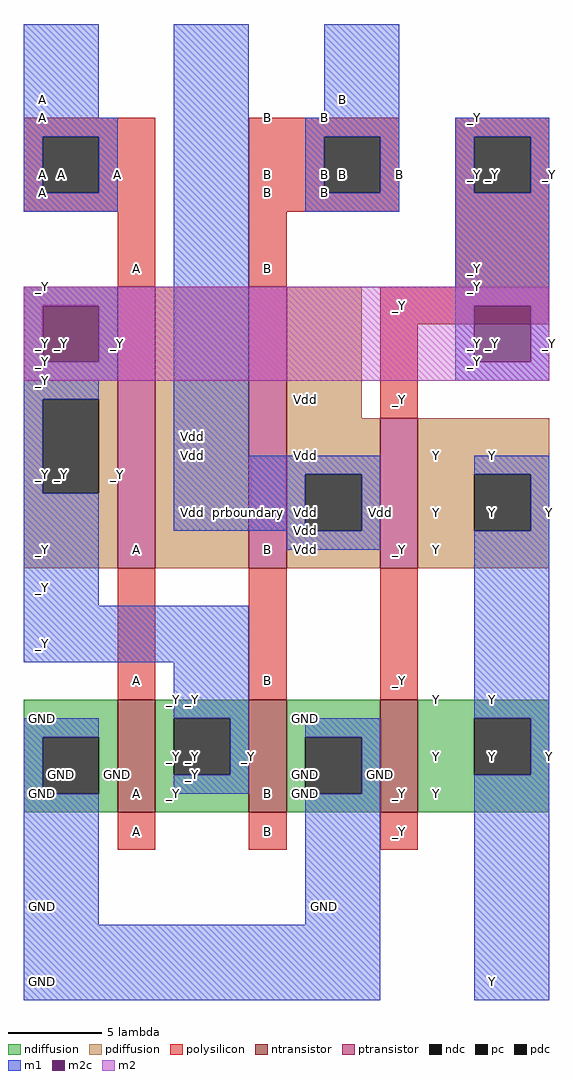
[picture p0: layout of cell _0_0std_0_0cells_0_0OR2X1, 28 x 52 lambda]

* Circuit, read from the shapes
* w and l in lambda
.subckt _0_0std_0_0cells_0_0OR2X1 Y B A
M1 _Y A GND VSUBS nfet w=6 l=2
M2 GND B _Y VSUBS nfet w=6 l=2
M3 Y _Y GND VSUBS nfet w=6 l=2
M4 n1 A _Y NWELL pfet w=15 l=2
M5 Vdd B n1 NWELL pfet w=15 l=2
M6 Y _Y Vdd NWELL pfet w=8 l=2
.ends

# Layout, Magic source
magic
tech sky130l
<< ndiffusion >>
rect 8 18 13 20
rect 8 15 9 18
rect 12 15 13 18
rect 8 14 13 15
rect 15 19 20 20
rect 15 16 16 19
rect 19 16 20 19
rect 15 14 20 16
rect 22 18 27 20
rect 22 15 23 18
rect 26 15 27 18
rect 22 14 27 15
rect 29 19 36 20
rect 29 16 32 19
rect 35 16 36 19
rect 29 14 36 16
<< ndc >>
rect 9 15 12 18
rect 16 16 19 19
rect 23 15 26 18
rect 32 16 35 19
<< ntransistor >>
rect 13 14 15 20
rect 20 14 22 20
rect 27 14 29 20
<< pdiffusion >>
rect 8 36 13 42
rect 8 31 9 36
rect 12 31 13 36
rect 8 27 13 31
rect 15 27 20 42
rect 22 35 26 42
rect 22 32 27 35
rect 22 29 23 32
rect 26 29 27 32
rect 22 27 27 29
rect 29 32 36 35
rect 29 29 32 32
rect 35 29 36 32
rect 29 27 36 29
<< pdc >>
rect 9 31 12 36
rect 23 29 26 32
rect 32 29 35 32
<< ptransistor >>
rect 13 27 15 42
rect 20 27 22 42
rect 27 27 29 35
<< polysilicon >>
rect 8 50 15 51
rect 8 47 9 50
rect 12 47 15 50
rect 8 46 15 47
rect 13 42 15 46
rect 20 50 28 51
rect 20 47 24 50
rect 27 47 28 50
rect 20 46 28 47
rect 31 50 36 51
rect 31 47 32 50
rect 35 47 36 50
rect 20 42 22 46
rect 31 42 36 47
rect 27 40 36 42
rect 27 35 29 40
rect 13 20 15 27
rect 20 20 22 27
rect 27 20 29 27
rect 13 12 15 14
rect 20 12 22 14
rect 27 12 29 14
<< pc >>
rect 9 47 12 50
rect 24 47 27 50
rect 32 47 35 50
<< m1 >>
rect 8 51 12 56
rect 8 50 13 51
rect 8 47 9 50
rect 12 47 13 50
rect 8 46 13 47
rect 8 41 13 42
rect 8 38 9 41
rect 12 38 13 41
rect 8 37 13 38
rect 8 36 12 37
rect 8 31 9 36
rect 8 25 12 31
rect 16 33 20 56
rect 24 51 28 56
rect 23 50 28 51
rect 23 47 24 50
rect 27 47 28 50
rect 23 46 28 47
rect 31 50 36 51
rect 31 47 32 50
rect 35 47 36 50
rect 31 41 36 47
rect 31 38 32 41
rect 35 38 36 41
rect 31 37 36 38
rect 16 32 27 33
rect 16 29 23 32
rect 26 29 27 32
rect 22 28 27 29
rect 32 32 36 33
rect 35 29 36 32
rect 8 22 20 25
rect 16 19 20 22
rect 32 19 36 29
rect 8 18 12 19
rect 8 15 9 18
rect 19 16 20 19
rect 16 15 20 16
rect 23 18 27 19
rect 26 15 27 18
rect 8 8 12 15
rect 23 8 27 15
rect 8 4 27 8
rect 35 16 36 19
rect 32 4 36 16
<< m2c >>
rect 9 38 12 41
rect 32 38 35 41
<< m2 >>
rect 8 41 36 42
rect 8 38 9 41
rect 12 38 32 41
rect 35 38 36 41
rect 8 37 36 38
<< labels >>
rlabel space 0 0 40 60 6 prboundary
rlabel polysilicon 32 43 32 43 3 _Y
rlabel ndiffusion 30 15 30 15 3 Y
rlabel ndiffusion 30 17 30 17 3 Y
rlabel ndiffusion 30 20 30 20 3 Y
rlabel pdiffusion 30 28 30 28 3 Y
rlabel pdiffusion 30 30 30 30 3 Y
rlabel pdiffusion 30 33 30 33 3 Y
rlabel polysilicon 28 36 28 36 3 _Y
rlabel polysilicon 28 41 28 41 3 _Y
rlabel polysilicon 28 13 28 13 3 _Y
rlabel ntransistor 28 15 28 15 3 _Y
rlabel polysilicon 28 21 28 21 3 _Y
rlabel ptransistor 28 28 28 28 3 _Y
rlabel ndiffusion 23 15 23 15 3 GND
rlabel ndiffusion 23 16 23 16 3 GND
rlabel ndiffusion 23 19 23 19 3 GND
rlabel pdiffusion 23 28 23 28 3 Vdd
rlabel pdiffusion 23 30 23 30 3 Vdd
rlabel pdiffusion 23 33 23 33 3 Vdd
rlabel pdiffusion 23 36 23 36 3 Vdd
rlabel polysilicon 21 13 21 13 3 B
rlabel ntransistor 21 15 21 15 3 B
rlabel polysilicon 21 21 21 21 3 B
rlabel ptransistor 21 28 21 28 3 B
rlabel polysilicon 21 43 21 43 3 B
rlabel polysilicon 21 47 21 47 3 B
rlabel polysilicon 21 48 21 48 3 B
rlabel polysilicon 21 51 21 51 3 B
rlabel ndiffusion 16 15 16 15 3 _Y
rlabel ndiffusion 16 17 16 17 3 _Y
rlabel ndiffusion 16 20 16 20 3 _Y
rlabel ndiffusion 13 16 13 16 3 GND
rlabel pdiffusion 13 32 13 32 3 _Y
rlabel polysilicon 14 13 14 13 3 A
rlabel ntransistor 14 15 14 15 3 A
rlabel polysilicon 14 21 14 21 3 A
rlabel ptransistor 14 28 14 28 3 A
rlabel polysilicon 14 43 14 43 3 A
rlabel ndiffusion 9 15 9 15 3 GND
rlabel pdiffusion 9 28 9 28 3 _Y
rlabel m1 36 17 36 17 3 Y
port 1 e
rlabel m1 36 30 36 30 3 Y
port 1 e
rlabel m1 36 48 36 48 3 _Y
rlabel ndc 33 17 33 17 3 Y
port 1 e
rlabel m1 33 20 33 20 3 Y
port 1 e
rlabel pdc 33 30 33 30 3 Y
port 1 e
rlabel m1 33 33 33 33 3 Y
port 1 e
rlabel pc 33 48 33 48 3 _Y
rlabel m1 32 48 32 48 3 _Y
rlabel m1 24 19 24 19 3 GND
rlabel m1 27 16 27 16 3 GND
rlabel m1 28 48 28 48 3 B
port 2 e
rlabel m1 32 51 32 51 3 _Y
rlabel ndc 24 16 24 16 3 GND
rlabel pc 25 48 25 48 3 B
port 2 e
rlabel m1 25 52 25 52 3 B
port 2 e
rlabel m1 20 17 20 17 3 _Y
rlabel m1 27 30 27 30 3 Vdd
rlabel m1 32 38 32 38 3 _Y
rlabel m1 32 39 32 39 3 _Y
rlabel m1 32 42 32 42 3 _Y
rlabel m1 24 47 24 47 3 B
port 2 e
rlabel m1 24 48 24 48 3 B
port 2 e
rlabel m1 24 51 24 51 3 B
port 2 e
rlabel m1 17 16 17 16 3 _Y
rlabel ndc 17 17 17 17 3 _Y
rlabel m1 17 20 17 20 3 _Y
rlabel pdc 24 30 24 30 3 Vdd
rlabel m1 33 5 33 5 3 Y
port 1 e
rlabel m1 24 9 24 9 3 GND
rlabel m1 23 29 23 29 3 Vdd
rlabel m1 17 30 17 30 3 Vdd
rlabel m1 17 33 17 33 3 Vdd
rlabel m1 17 34 17 34 3 Vdd
rlabel m1 13 48 13 48 3 A
port 3 e
rlabel ndc 10 16 10 16 3 GND
rlabel pdc 10 32 10 32 3 _Y
rlabel pc 10 48 10 48 3 A
port 3 e
rlabel m1 9 5 9 5 3 GND
rlabel m1 9 9 9 9 3 GND
rlabel m1 9 16 9 16 3 GND
rlabel m1 9 19 9 19 3 GND
rlabel m1 9 23 9 23 3 _Y
rlabel m1 9 26 9 26 3 _Y
rlabel m1 9 32 9 32 3 _Y
rlabel m1 9 37 9 37 3 _Y
rlabel m1 9 47 9 47 3 A
port 3 e
rlabel m1 9 48 9 48 3 A
port 3 e
rlabel m1 9 51 9 51 3 A
port 3 e
rlabel m1 9 52 9 52 3 A
port 3 e
rlabel m2 36 39 36 39 3 _Y
rlabel m2c 33 39 33 39 3 _Y
rlabel m2 13 39 13 39 3 _Y
rlabel m2c 10 39 10 39 3 _Y
rlabel m2 9 38 9 38 3 _Y
rlabel m2 9 39 9 39 3 _Y
rlabel m2 9 42 9 42 3 _Y
<< end >>
